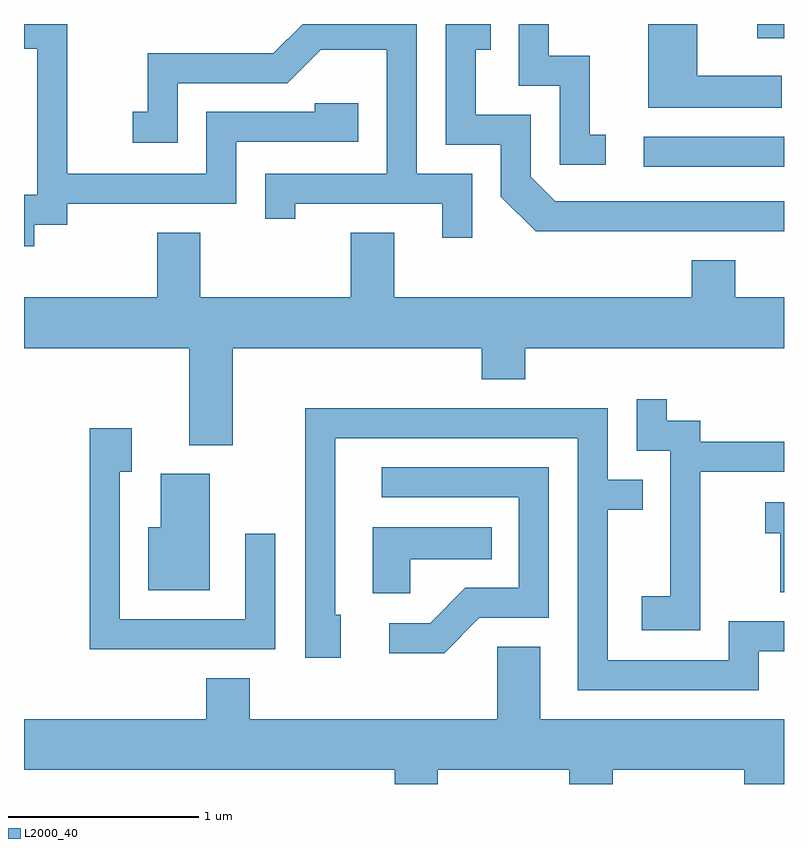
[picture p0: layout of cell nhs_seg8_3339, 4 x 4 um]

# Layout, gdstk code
import gdstk
lib = gdstk.Library(unit=1e-6, precision=1e-09)
def R(c, l, rs):  # rectangles x0, y0, x1, y1
    for r in rs: c.add(gdstk.rectangle(r[:2], r[2:], *l))
def P(c, l, *ps):  # polygons
    for p in ps: c.add(gdstk.Polygon(p, *l))
L2000_40 = (2000, 40)

nhs_seg8_3339 = lib.new_cell('nhs_seg8_3339')
R(nhs_seg8_3339, L2000_40, [(288.873,1839.591,289.611,1839.749), (289.471,1840.266,289.611,1840.342)])
P(nhs_seg8_3339, L2000_40, [(289.598,1840.069),(289.154,1840.069),(289.154,1840.342),(288.896,1840.342),(288.896,1839.901),(289.598,1839.901)],
  [(285.664,1839.286),(285.839,1839.286),(285.839,1839.396),(286.729,1839.396),(286.729,1839.721),(287.369,1839.721),(287.369,1839.924),(287.141,1839.924),(287.141,1839.879),(286.571,1839.879),(286.571,1839.554),(285.839,1839.554),(285.839,1840.342),(285.611,1840.342),(285.611,1840.211),(285.681,1840.211),(285.681,1839.444),(285.611,1839.444),(285.611,1839.173),(285.664,1839.173)],
  [(288.673,1839.759),(288.589,1839.759),(288.589,1840.174),(288.374,1840.174),(288.374,1840.342),(288.216,1840.342),(288.216,1840.016),(288.431,1840.016),(288.431,1839.601),(288.673,1839.601)],
  [(287.969,1839.554),(287.679,1839.554),(287.679,1840.342),(287.077,1840.342),(286.924,1840.189),(286.261,1840.189),(286.261,1839.879),(286.183,1839.879),(286.183,1839.716),(286.419,1839.716),(286.419,1840.031),(286.997,1840.031),(287.172,1840.206),(287.521,1840.206),(287.521,1839.554),(286.881,1839.554),(286.881,1839.318),(287.039,1839.318),(287.039,1839.396),(287.811,1839.396),(287.811,1839.218),(287.969,1839.218)],
  [(286.808,1840.342),(285.991,1840.342),(285.991,1840.341),(286.807,1840.341)],
  [(289.611,1839.409),(288.407,1839.409),(288.279,1839.537),(288.279,1839.864),(287.989,1839.864),(287.989,1840.206),(288.068,1840.206),(288.068,1840.342),(287.831,1840.342),(287.831,1839.706),(288.121,1839.706),(288.121,1839.434),(288.304,1839.251),(289.611,1839.251)],
  [(286.709,1838.636),(288.021,1838.636),(288.021,1838.471),(288.249,1838.471),(288.249,1838.636),(289.611,1838.636),(289.611,1838.904),(289.354,1838.904),(289.354,1839.099),(289.126,1839.099),(289.126,1838.904),(287.559,1838.904),(287.559,1839.244),(287.331,1839.244),(287.331,1838.904),(286.539,1838.904),(286.539,1839.244),(286.311,1839.244),(286.311,1838.904),(285.611,1838.904),(285.611,1838.636),(286.481,1838.636),(286.481,1838.126),(286.709,1838.126)],
  [(289.169,1837.986),(289.611,1837.986),(289.611,1838.144),(289.169,1838.144),(289.169,1838.254),(288.994,1838.254),(288.994,1838.368),(288.836,1838.368),(288.836,1838.096),(289.011,1838.096),(289.011,1837.329),(288.861,1837.329),(288.861,1837.151),(289.169,1837.151)],
  [(289.479,1837.041),(289.611,1837.041),(289.611,1837.199),(289.321,1837.199),(289.321,1836.994),(288.684,1836.994),(288.684,1837.786),(288.868,1837.786),(288.868,1837.944),(288.684,1837.944),(288.684,1838.319),(287.091,1838.319),(287.091,1837.006),(287.279,1837.006),(287.279,1837.234),(287.249,1837.234),(287.249,1838.161),(288.526,1838.161),(288.526,1836.836),(289.479,1836.836)],
  [(286.934,1837.658),(286.776,1837.658),(286.776,1837.209),(286.114,1837.209),(286.114,1837.986),(286.179,1837.986),(286.179,1838.214),(285.956,1838.214),(285.956,1837.051),(286.934,1837.051)],
  [(288.007,1837.216),(288.374,1837.216),(288.374,1838.009),(287.493,1838.009),(287.493,1837.851),(288.216,1837.851),(288.216,1837.374),(287.934,1837.374),(287.749,1837.189),(287.533,1837.189),(287.533,1837.031),(287.822,1837.031)],
  [(286.589,1837.974),(286.331,1837.974),(286.331,1837.694),(286.266,1837.694),(286.266,1837.361),(286.589,1837.361)],
  [(289.611,1837.824),(289.513,1837.824),(289.513,1837.661),(289.591,1837.661),(289.591,1837.351),(289.611,1837.351)],
  [(287.644,1837.526),(288.073,1837.526),(288.073,1837.694),(287.446,1837.694),(287.446,1837.346),(287.644,1837.346)],
  [(287.789,1836.416),(288.481,1836.416),(288.481,1836.342),(288.709,1836.342),(288.709,1836.416),(289.401,1836.416),(289.401,1836.342),(289.611,1836.342),(289.611,1836.684),(288.329,1836.684),(288.329,1837.064),(288.101,1837.064),(288.101,1836.684),(286.799,1836.684),(286.799,1836.899),(286.571,1836.899),(286.571,1836.684),(285.611,1836.684),(285.611,1836.416),(287.561,1836.416),(287.561,1836.342),(287.789,1836.342)])

lib.write_gds('nhs_seg8_3339.gds')
